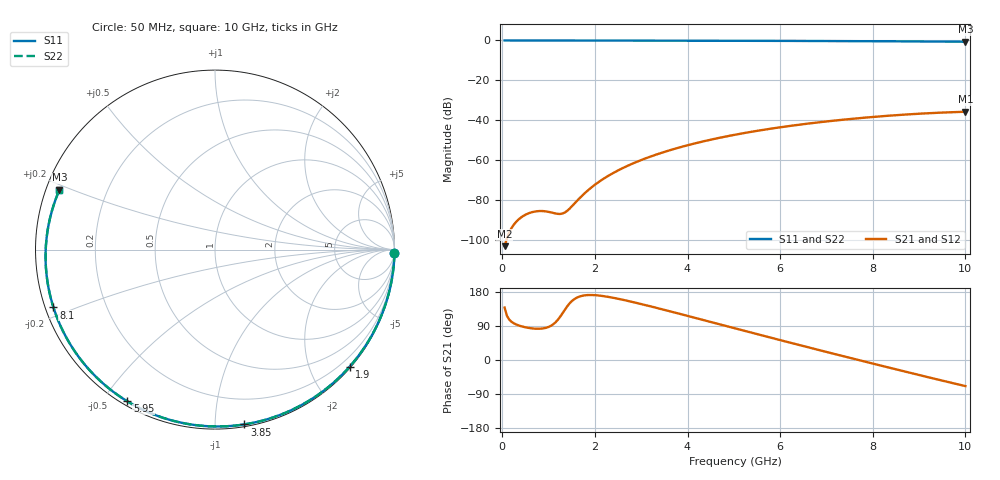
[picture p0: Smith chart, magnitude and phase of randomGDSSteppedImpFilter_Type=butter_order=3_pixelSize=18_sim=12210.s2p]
! freq	dB(S11)	phase(S11)	dB(S12)	phase(S12)
!  dB(S21)	phase(S21)	dB(S22)	phase(S22)
!S-par simulation data
#  GHz  S  DB  R 50
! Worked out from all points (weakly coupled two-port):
!   200 points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, 50 MHz to 10 GHz, reference 50 ohm
!   highest |S21| = -35.82 dB at 10 GHz (marker M1); lowest = -103.3 dB at 50 MHz (marker M2)
!   lowest |S11| = -0.6 dB at 10 GHz (marker M3), VSWR 26.95, Z = 1.92 + j9.28 ohm
!   |S11| at or under -10 dB: nowhere
!   |S22| runs from -0.6 to 0.0 dB; largest |S21 - S12| = 0
!   S11 on the Smith chart (normalised r, x): 50 MHz: open; 1.9 GHz: 0.02, -2.67; 3.85 GHz: 0.02, -1.18; 5.95 GHz: 0.02, -0.58; 8.1 GHz: 0.02, -0.17; 10 GHz: 0.04, +0.19
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0.05  -0.00 -1.1  -103.34 138.3  -103.34 138.3  -0.00 -1.1
0.8  -0.02 -17.5  -85.70 82.5  -85.70 82.5  -0.02 -17.5
1.6  -0.04 -34.7  -80.91 163.9  -80.91 163.9  -0.04 -34.7
1.65  -0.04 -35.7  -79.69 166.7  -79.69 166.7  -0.04 -35.7
1.75  -0.05 -37.8  -77.38 170.1  -77.38 170.1  -0.05 -37.8
1.9  -0.05 -41.0  -74.30 171.5  -74.30 171.5  -0.05 -41.0
2.2  -0.06 -47.3  -69.28 168.3  -69.28 168.3  -0.06 -47.3
2.55  -0.07 -54.5  -64.70 160.3  -64.70 160.3  -0.07 -54.5
2.95  -0.08 -62.6  -60.53 149.1  -60.53 149.1  -0.08 -62.6
3.4  -0.09 -71.6  -56.74 135.4  -56.74 135.4  -0.09 -71.6
3.85  -0.11 -80.5  -53.59 121.2  -53.59 121.2  -0.11 -80.5
4.45  -0.13 -92.0  -50.11 102.0  -50.11 102.0  -0.13 -92.0
5.05  -0.16 -103.3  -47.25 82.8  -47.25 82.8  -0.16 -103.3
5.95  -0.21 -120.0  -43.79 54.1  -43.79 54.1  -0.21 -120.0
6.7  -0.26 -133.8  -41.49 30.6  -41.49 30.6  -0.26 -133.8
7.4  -0.32 -146.9  -39.71 8.9  -39.71 8.9  -0.32 -146.9
8.1  -0.39 -160.3  -38.25 -12.5  -38.25 -12.5  -0.39 -160.3
8.35  -0.42 -165.2  -37.80 -20.1  -37.80 -20.1  -0.42 -165.2
8.8  -0.47 -174.4  -37.08 -33.6  -37.08 -33.6  -0.47 -174.4
9.2  -0.53 177.1  -36.56 -45.6  -36.56 -45.6  -0.53 177.2
9.6  -0.58 168.3  -36.13 -57.3  -36.13 -57.3  -0.58 168.3
10  -0.64 159.0  -35.82 -68.8  -35.82 -68.8  -0.64 159.0
